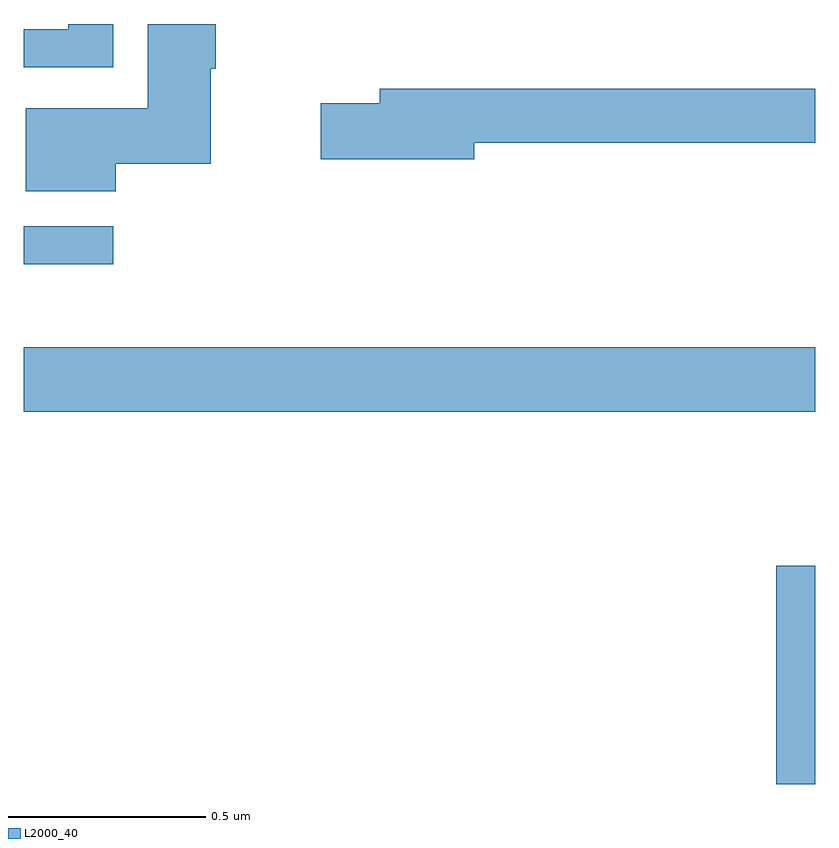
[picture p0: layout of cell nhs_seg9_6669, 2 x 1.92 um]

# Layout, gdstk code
import gdstk
lib = gdstk.Library(unit=1e-6, precision=1e-09)
def R(c, l, rs):  # rectangles x0, y0, x1, y1
    for r in rs: c.add(gdstk.rectangle(r[:2], r[2:], *l))
def P(c, l, *ps):  # polygons
    for p in ps: c.add(gdstk.Polygon(p, *l))
L2000_40 = (2000, 40)

nhs_seg9_6669 = lib.new_cell('nhs_seg9_6669')
R(nhs_seg9_6669, L2000_40, [(196.901,1175.5,197,1176.052), (195,1176.44,197,1176.604), (195,1176.813,195.226,1176.909)])
P(nhs_seg9_6669, L2000_40, [(195.232,1177.067),(195.472,1177.067),(195.472,1177.307),(195.485,1177.307),(195.485,1177.42),(195.314,1177.42),(195.314,1177.207),(195.005,1177.207),(195.005,1176.998),(195.232,1176.998)],
  [(195.226,1177.42),(195.113,1177.42),(195.113,1177.407),(195,1177.407),(195,1177.311),(195.226,1177.311)],
  [(196.138,1177.12),(197,1177.12),(197,1177.256),(195.899,1177.256),(195.899,1177.22),(195.75,1177.22),(195.75,1177.078),(196.138,1177.078)])

lib.write_gds('nhs_seg9_6669.gds')
